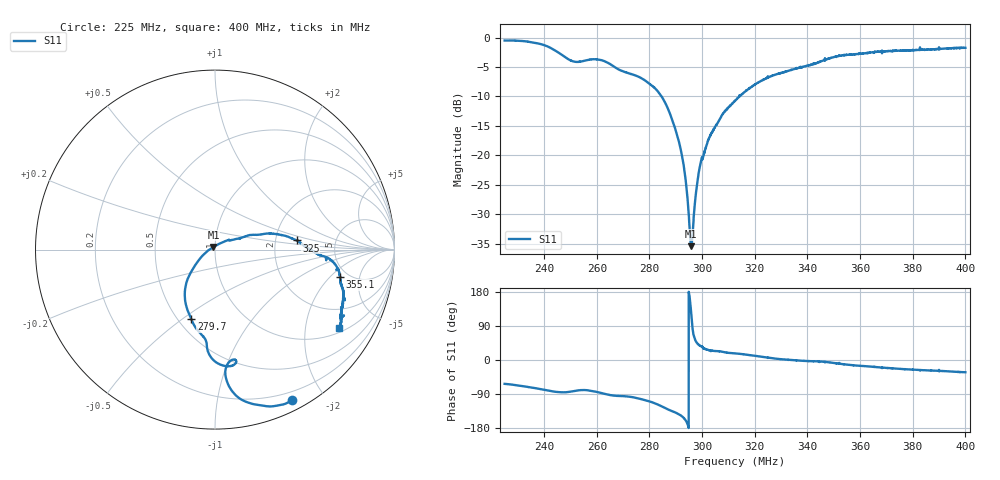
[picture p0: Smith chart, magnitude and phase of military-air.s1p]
! Calibrated averaged scanner-service zoom
# Hz S RI R 50
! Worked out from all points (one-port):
!   10001 points, 225 MHz to 400 MHz, reference 50 ohm
!   lowest |S11| = -35.4 dB at 295.9 MHz (marker M1), VSWR 1.03, Z = 49.1 + j1.43 ohm
!   |S11| at or under -10 dB: 284.6 MHz to 314.1 MHz (29.53 MHz wide, 9.86 % of centre); 314.1612 MHz to 314.1772 MHz (15.95 kHz wide, 0.00508 % of centre)
!   S11 on the Smith chart (normalised r, x): 225 MHz: 0.11, -1.63; 279.7 MHz: 0.58, -0.54; 325 MHz: 2.64, +0.34; 355.1 MHz: 4.26, -2.65; 400 MHz: 1.16, -3.05
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2.25e8  0.4292 -0.8405
2.3858e8  0.2022 -0.8578
2.46875e8  0.0593 -0.7072
2.514775e8  0.0877 -0.6184
2.560975e8  0.1165 -0.6314
2.6189e8  0.0293 -0.6406
2.6875e8  -0.046 -0.5279
2.796875e8  -0.1316 -0.3884
2.85585e8  -0.1681 -0.2366
2.90625e8  -0.1133 -0.0916
2.932325e8  -0.0688 -0.0326
2.94125e8  -0.0498 -0.0144
2.953325e8  -0.0218 0.00664
2.958925e8  -0.0086 0.0146
2.9647e8  0.00468 0.022
2.976075e8  0.03 0.0354
2.98395e8  0.047 0.0422
3.0018e8  0.0782 0.0533
3.042225e8  0.149 0.0668
3.081425e8  0.2133 0.0821
3.125e8  0.2768 0.0877
3.2503e8  0.4546 0.0508
3.34375e8  0.5348 -0.00147
3.45715e8  0.6335 -0.0488
3.5513e8  0.6967 -0.1528
3.5625e8  0.6987 -0.1634
3.78125e8  0.7065 -0.3255
4e8  0.6913 -0.4372
